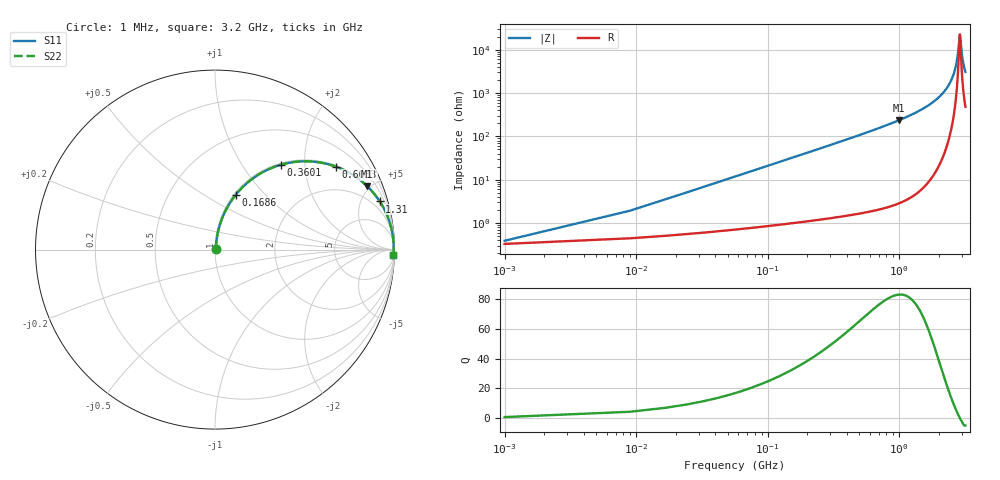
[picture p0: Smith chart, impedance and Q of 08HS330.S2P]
! Coilcraft 0805HS-330 Chip Inductor
! 13 June 2002
# MHZ S MA R 50
!Freq  MagS11  AngS11  MagS21  AngS21  MagS12  AngS12  MagS22  AngS22
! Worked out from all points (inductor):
!   402 points, 1 MHz to 3.2 GHz, reference 50 ohm
!   read as one part in series: L = 33 nH near 16.96 MHz
!   highest Q = 83.2 at 1.006 GHz (marker M1), where L = 37.5 nH
!   self-resonance near 2.898 GHz
!   S11 on the Smith chart (normalised r, x): 1 MHz: 1.01, +0.00; 168.6 MHz: 1.02, +0.70; 360.1 MHz: 1.03, +1.52; 663.3 MHz: 1.04, +2.90; 1.31 GHz: 1.09, +6.82; 3.2 GHz: 11, -61
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1  0.00386 32.3  0.9967 -0.1  0.9967 -0.1  0.00386 32.3
24.94  0.05166 80.9  0.9932 -2.9  0.9932 -2.9  0.05166 80.9
32.92  0.06796 81.1  0.9918 -3.9  0.9918 -3.9  0.06796 81.1
48.88  0.1004 80.5  0.9884 -5.8  0.9884 -5.8  0.1004 80.5
96.76  0.1955 76.4  0.9726 -11.3  0.9726 -11.3  0.1955 76.4
168.58  0.3281 69.2  0.9352 -19.1  0.9352 -19.1  0.3281 69.2
256.36  0.468 60.8  0.8733 -27.9  0.8733 -27.9  0.468 60.8
360.1  0.599 52.2  0.7898 -36.8  0.7898 -36.8  0.599 52.2
535.66  0.7491 40.6  0.6515 -48.5  0.6515 -48.5  0.7491 40.6
663.34  0.8183 34.3  0.5639 -54.9  0.5639 -54.9  0.8183 34.3
1006.48  0.9175 22.8  0.3868 -66.6  0.3868 -66.6  0.9175 22.8
1070.32  0.9281 21.2  0.3614 -68.1  0.3614 -68.1  0.9281 21.2
1309.72  0.9563 16.3  0.2805 -73.0  0.2805 -73.0  0.9563 16.3
1604.98  0.9758 11.8  0.2037 -77.3  0.2037 -77.3  0.9758 11.8
2139.64  0.9915 5.9  0.1023 -82.3  0.1023 -82.3  0.9915 5.9
2458.84  0.9948 3.2  0.05543 -83.1  0.05543 -83.1  0.9948 3.2
2674.3  0.9956 1.6  0.02766 -80.2  0.02766 -80.2  0.9956 1.6
2786.02  0.9957 0.8  0.01444 -72.4  0.01444 -72.4  0.9957 0.8
2881.78  0.9956 0.2  0.005106 -31.1  0.005106 -31.1  0.9956 0.2
2905.72  0.9956 -0.0  0.004416 1.1  0.004416 1.1  0.9956 -0.0
3041.38  0.9952 -0.9  0.01587 71.9  0.01587 71.9  0.9952 -0.9
3200  0.9944 -1.8  0.03237 79.2  0.03237 79.2  0.9944 -1.8
